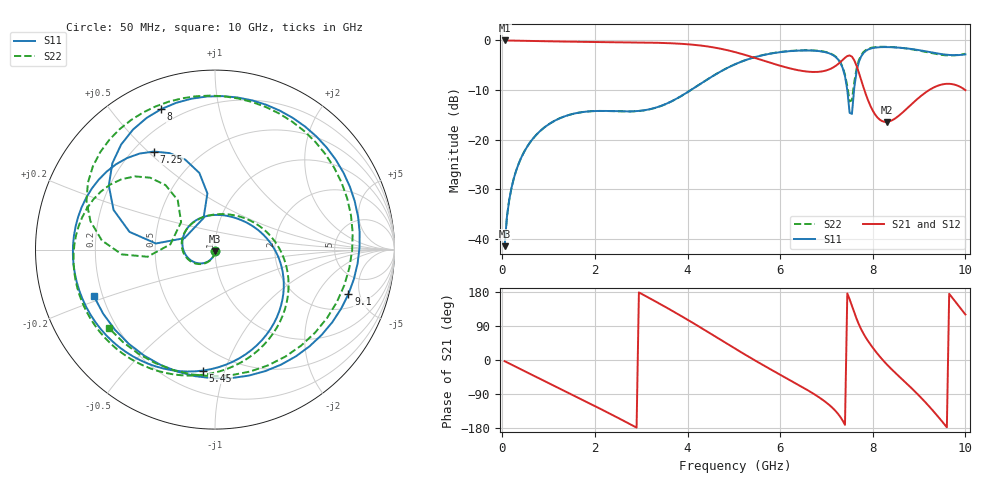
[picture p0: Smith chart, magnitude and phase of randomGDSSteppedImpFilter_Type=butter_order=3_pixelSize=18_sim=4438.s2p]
! freq	dB(S11)	phase(S11)	dB(S12)	phase(S12)
!  dB(S21)	phase(S21)	dB(S22)	phase(S22)
!S-par simulation data
#  GHz  S  DB  R 50
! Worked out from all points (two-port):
!   200 points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, 50 MHz to 10 GHz, reference 50 ohm
!   highest |S21| = -0.01 dB at 50 MHz (marker M1); lowest = -16.4 dB at 8.3 GHz (marker M2)
!   |S21| within 3 dB of the highest: start of sweep to 5.275 GHz
!   lowest |S11| = -41.5 dB at 50 MHz (marker M3), VSWR 1.02, Z = 50 - j0.845 ohm
!   |S11| at or under -10 dB: start of sweep to 4.072 GHz; 7.45 GHz to 7.596 GHz (146.3 MHz wide, 1.95 % of centre)
!   |S22| runs from -41.4 to -1.3 dB; largest |S21 - S12| = 0
!   S11 on the Smith chart (normalised r, x): 50 MHz: 1.00, -0.02; 5.45 GHz: 0.34, -0.85; 7.25 GHz: 0.28, +0.52; 8 GHz: 0.13, +0.68; 9.1 GHz: 3.03, -3.90; 10 GHz: 0.17, -0.18
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0.05  -41.45 -91.8  -0.01 -3.1  -0.01 -3.1  -41.44 -91.6
0.2  -29.66 -102.1  -0.03 -12.3  -0.03 -12.3  -29.66 -101.4
0.5  -21.98 -121.7  -0.07 -30.6  -0.07 -30.6  -21.98 -119.9
1.75  -14.41 159.4  -0.29 -106.3  -0.29 -106.3  -14.41 166.5
2.65  -14.31 101.0  -0.37 -162.3  -0.37 -162.3  -14.32 112.7
3.4  -13.28 51.0  -0.49 148.3  -0.49 148.3  -13.31 63.5
4.2  -9.23 -3.9  -0.94 91.7  -0.94 91.7  -9.23 5.0
5.05  -4.71 -66.2  -2.41 28.4  -2.41 28.4  -4.70 -58.9
5.45  -3.39 -95.6  -3.51 -0.7  -3.51 -0.7  -3.37 -87.7
6  -2.36 -134.7  -5.10 -38.7  -5.10 -38.7  -2.33 -124.9
6.7  -2.05 174.4  -6.35 -87.5  -6.35 -87.5  -2.00 -171.3
7.25  -3.82 121.9  -4.77 -142.2  -4.77 -142.2  -3.72 143.0
7.5  -14.58 110.0  -3.02 160.3  -3.02 160.3  -12.28 140.9
7.6  -9.59 174.1  -3.98 125.6  -3.98 125.6  -8.45 -173.9
7.75  -3.21 148.9  -7.99 80.9  -7.99 80.9  -2.96 167.2
8  -1.53 111.0  -14.15 32.4  -14.15 32.4  -1.42 133.8
8.3  -1.34 76.1  -16.42 -11.2  -16.42 -11.2  -1.28 102.2
8.35  -1.35 70.5  -16.33 -17.5  -16.33 -17.5  -1.30 97.1
8.75  -1.63 25.0  -13.61 -64.1  -13.61 -64.1  -1.65 53.1
9.1  -2.12 -18.4  -10.76 -106.8  -10.76 -106.8  -2.24 7.1
9.6  -2.89 -90.6  -8.74 -177.6  -8.74 -177.6  -3.01 -74.0
10  -2.81 -159.3  -10.02 120.0  -10.02 120.0  -2.68 -143.3
